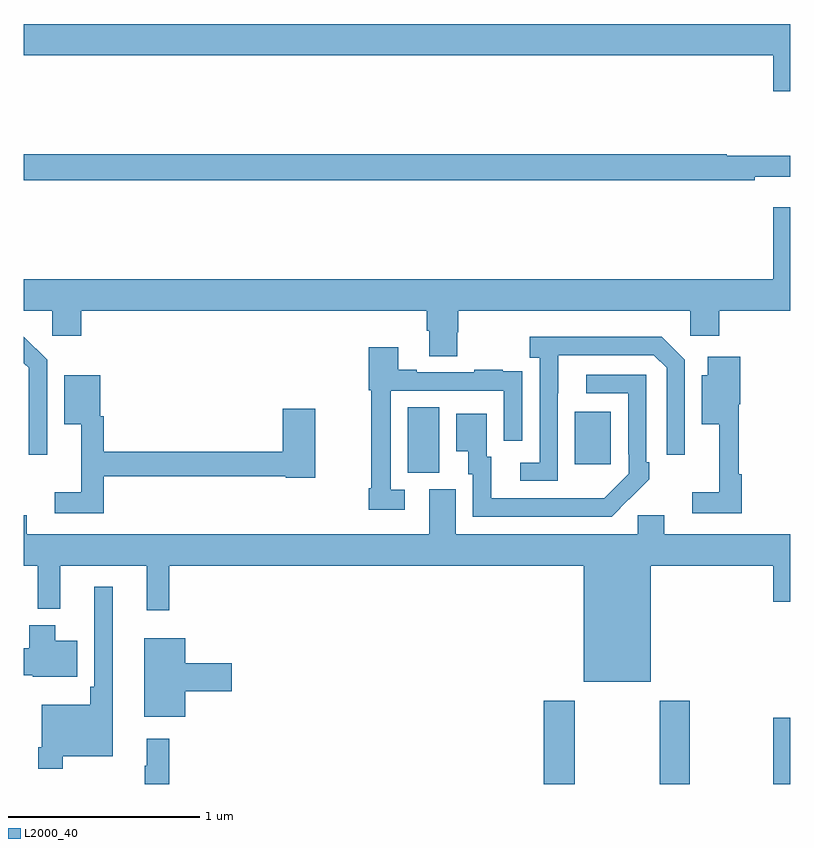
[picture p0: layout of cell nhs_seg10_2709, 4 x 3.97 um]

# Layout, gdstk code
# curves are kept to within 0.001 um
import gdstk
lib = gdstk.Library(unit=1e-6, precision=1e-09)
def R(c, l, rs):  # rectangles x0, y0, x1, y1
    for r in rs: c.add(gdstk.rectangle(r[:2], r[2:], *l))
def P(c, l, *ps):  # polygons
    for p in ps: c.add(gdstk.Polygon(p, *l))
L2000_40 = (2000, 40)

nhs_seg10_2709 = lib.new_cell('nhs_seg10_2709')
R(nhs_seg10_2709, L2000_40, [(259.715,1308.5,259.875,1308.934), (260.32,1308.5,260.475,1308.934), (260.912,1308.5,261,1308.847), (259.004,1310.125,259.168,1310.468), (259.877,1310.169,260.065,1310.443)])
P(nhs_seg10_2709, L2000_40, [(261,1312.468),(257,1312.468),(257,1312.304),(260.912,1312.304),(260.912,1312.116),(261,1312.116)],
  [(260.816,1311.671),(261,1311.671),(261,1311.781),(260.669,1311.781),(260.669,1311.788),(257,1311.788),(257,1311.652),(260.816,1311.652)],
  [(259.263,1310.859),(259.267,1310.859),(259.267,1310.972),(260.478,1310.972),(260.478,1310.841),(260.63,1310.841),(260.63,1310.972),(261,1310.972),(261,1311.511),(260.912,1311.511),(260.912,1311.136),(257,1311.136),(257,1310.972),(257.148,1310.972),(257.148,1310.841),(257.3,1310.841),(257.3,1310.972),(259.103,1310.972),(259.103,1310.866),(259.115,1310.866),(259.115,1310.734),(259.263,1310.734)],
  [(259.788,1310.539),(259.789,1310.739),(260.289,1310.739),(260.355,1310.673),(260.355,1310.22),(260.451,1310.22),(260.451,1310.715),(260.33,1310.836),(259.641,1310.836),(259.641,1310.726),(259.692,1310.726),(259.692,1310.178),(259.59,1310.178),(259.59,1310.082),(259.788,1310.082)],
  [(257.121,1310.715),(257,1310.836),(257,1310.698),(257.025,1310.673),(257.025,1310.22),(257.121,1310.22)],
  [(258.988,1310.037),(258.915,1310.037),(258.915,1310.553),(259.506,1310.553),(259.506,1310.292),(259.602,1310.292),(259.602,1310.546),(259.601,1310.546),(259.601,1310.655),(259.499,1310.655),(259.499,1310.662),(259.351,1310.662),(259.351,1310.649),(259.051,1310.649),(259.051,1310.662),(258.955,1310.662),(258.955,1310.779),(258.799,1310.779),(258.799,1310.556),(258.814,1310.556),(258.814,1310.044),(258.799,1310.044),(258.799,1309.932),(258.988,1309.932)],
  [(260.747,1310.117),(260.732,1310.117),(260.732,1310.482),(260.741,1310.482),(260.741,1310.731),(260.57,1310.731),(260.57,1310.635),(260.54,1310.635),(260.54,1310.378),(260.63,1310.378),(260.63,1310.023),(260.49,1310.023),(260.49,1309.914),(260.747,1309.914)],
  [(260.159,1309.987),(260.16,1309.986),(260.265,1310.091),(260.265,1310.179),(260.25,1310.179),(260.25,1310.637),(259.935,1310.637),(259.935,1310.541),(260.154,1310.541),(260.154,1310.221),(260.157,1310.221),(260.157,1310.121),(260.029,1309.993),(259.441,1309.992),(259.441,1310.208),(259.417,1310.208),(259.417,1310.434),(259.256,1310.434),(259.256,1310.237),(259.319,1310.237),(259.319,1310.118),(259.344,1310.118),(259.344,1309.896),(260.068,1309.896)],
  [(257.417,1310.106),(258.366,1310.106),(258.366,1310.098),(258.52,1310.098),(258.52,1310.458),(258.35,1310.458),(258.35,1310.234),(257.417,1310.234),(257.417,1310.421),(257.398,1310.421),(257.398,1310.635),(257.21,1310.635),(257.21,1310.378),(257.3,1310.378),(257.3,1310.023),(257.16,1310.023),(257.16,1309.914),(257.417,1309.914)],
  [(260.272,1309.64),(260.912,1309.64),(260.912,1309.452),(261,1309.452),(261,1309.804),(260.344,1309.804),(260.344,1309.902),(260.205,1309.902),(260.205,1309.804),(259.255,1309.804),(259.255,1310.04),(259.115,1310.04),(259.115,1309.804),(257.014,1309.804),(257.014,1309.902),(257,1309.902),(257,1309.64),(257.071,1309.64),(257.071,1309.415),(257.189,1309.415),(257.189,1309.64),(257.642,1309.64),(257.642,1309.407),(257.759,1309.407),(257.759,1309.64),(259.922,1309.64),(259.922,1309.034),(260.272,1309.034)],
  [(257.203,1308.644),(257.464,1308.644),(257.464,1309.531),(257.367,1309.531),(257.367,1309.009),(257.347,1309.009),(257.347,1308.913),(257.094,1308.913),(257.094,1308.691),(257.074,1308.691),(257.074,1308.579),(257.203,1308.579)],
  [(257.278,1309.249),(257.164,1309.249),(257.164,1309.33),(257.029,1309.33),(257.029,1309.209),(257,1309.209),(257,1309.067),(257.046,1309.067),(257.046,1309.061),(257.278,1309.061)],
  [(257.842,1308.983),(258.085,1308.983),(258.085,1309.13),(257.842,1309.13),(257.842,1309.261),(257.627,1309.261),(257.627,1308.851),(257.842,1308.851)],
  [(257.759,1308.736),(257.642,1308.736),(257.642,1308.596),(257.631,1308.596),(257.631,1308.5),(257.759,1308.5)])

lib.write_gds('nhs_seg10_2709.gds')
